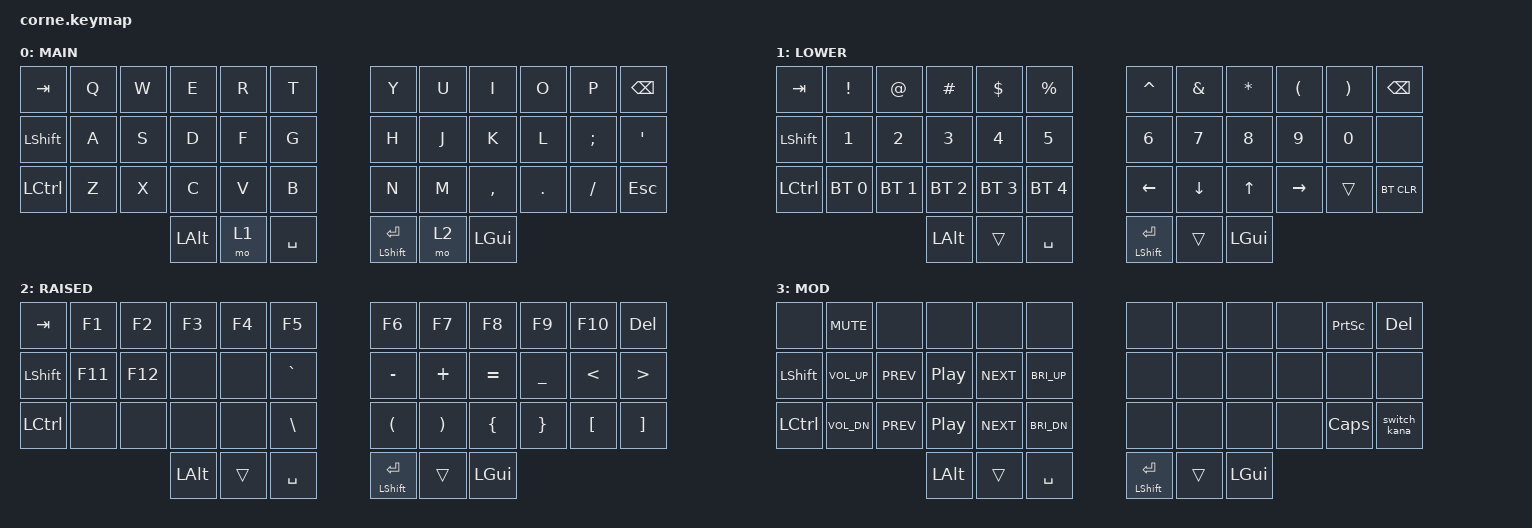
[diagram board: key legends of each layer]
/*
 * Copyright (c) 2020 The ZMK Contributors
 *
 * SPDX-License-Identifier: MIT
 */


#include <behaviors.dtsi>
#include <dt-bindings/zmk/keys.h>
#include <dt-bindings/zmk/bt.h>
#include <dt-bindings/zmk/rgb.h>

/ {
        macros {
                switch_kana: switch_kana {
                        compatible = "zmk,behavior-macro";
                        #binding-cells = <0>;
                        bindings
                                = <&macro_press &kp ALT>
                                , <&macro_tap &kp Z &kp M &kp K>
                                , <&macro_release &kp LSHFT>
                                ;
                        };
                    };
        conditional_layers {
                compatible = "zmk,conditional-layers";
                tri_layer {
                        if-layers = <1 2>;
                        then-layer = <3>;
                };
        };
        keymap {
                compatible = "zmk,keymap";

                default_layer {
                        display-name = "MAIN";
// -----------------------------------------------------------------------------------------
// |  TAB |  Q  |  W  |  E  |  R  |  T  |   |  Y  |  U   |  I  |  O  |  P  | BKSP |
// | CTRL |  A  |  S  |  D  |  F  |  G  |   |  H  |  J   |  K  |  L  |  ;  |  '   |
// | SHFT |  Z  |  X  |  C  |  V  |  B  |   |  N  |  M   |  ,  |  .  |  /  | SHFT |
//                    | GUI | LWR | SPC |   | ENT | RSE  | ALT |
                        bindings = <
   &kp TAB   &kp Q &kp W &kp E &kp R &kp T   &kp Y &kp U  &kp I     &kp O   &kp P    &kp BSPC
   &kp LSHFT &kp A &kp S &kp D &kp F &kp G   &kp H &kp J  &kp K     &kp L   &kp SEMI &kp SQT
   &kp LCTRL &kp Z &kp X &kp C &kp V &kp B   &kp N &kp M  &kp COMMA &kp DOT &kp FSLH &kp ESC
                  &kp LALT &mo 1 &kp SPACE   &mt LSHFT RET &mo 2 &kp LGUI
                        >;
                };
                lower_layer {
                        display-name = "LOWER";
// -----------------------------------------------------------------------------------------
// |  TAB | EXCL |  AT  | HASH | DLLR | PRCNT|   |CARET | AMPS | STAR | LPAR | RPAR | BKSP |
// | SHFT |  N1  |  N2  |  N3  |  N4  |  N5  |   |  N6  |  N7  |  N8  |  N9  |  N0  |      |
// | CTRL |  BT1 |  BT2 |  BT3 |  BT4 |  BT5 |   | LEFT | DOWN |  UP  |RIGHT |      |BT_CLR|
//                      | ALT  |      |  SPC |   |SHENT |      | GUI  |
                        bindings = <
        &kp TAB         &kp EXCL        &kp AT          &kp HASH        &kp DLLR        &kp PRCNT               &kp CARET       &kp AMPS        &kp STAR        &kp LPAR        &kp RPAR        &kp BSPC
        &kp LSHFT       &kp N1          &kp N2          &kp N3          &kp N4          &kp N5                  &kp N6          &kp N7          &kp N8          &kp N9          &kp N0          &none
        &kp LCTRL       &bt BT_SEL 0    &bt BT_SEL 1    &bt BT_SEL 2    &bt BT_SEL 3    &bt BT_SEL 4            &kp LEFT        &kp DOWN        &kp UP          &kp RIGHT       &trans          &bt BT_CLR
                                                        &kp LALT        &trans          &kp SPACE               &mt LSHFT RET   &trans          &kp LGUI
                        >;
                };

                raise_layer {
                        display-name = "RAISED";
// -----------------------------------------------------------------------------------------
// |  TAB |  F1  |  F2  |  F3  |  F4  |  F5  |   |   F6   |  F7   |   F8   |  F9  |  F10 | DEL  |
// | SHFT |  F11 | F12  |      |      | GRAVE|   |  MINUS |  PLUS |  EQUAL |UNDER |  LT  | GT   |
// | CTRL |      |      |      |      | BSLH |   |  LPAR  | RPAR  |  LBRC  | RBRC | LBKT | RBKT |
//                      |  ALT |      | SPC  |   |  SHENT |       |  GUI   |
                        bindings = <
        &kp TAB         &kp F1          &kp F2          &kp F3          &kp F4          &kp F5                  &kp F6          &kp F7          &kp F8          &kp F9          &kp F10          &kp DEL
        &kp LSHFT        &kp F11         &kp F12         &none          &none          &kp GRAVE               &kp MINUS    &kp PLUS     &kp EQUAL    &kp UNDER       &kp LT          &kp GT
        &kp LCTRL        &none          &none          &none          &none          &kp BSLH                &kp LPAR        &kp RPAR        &kp LBRC        &kp RBRC        &kp LBKT        &kp RBKT
                                                        &kp LALT        &trans          &kp SPC                 &mt LSHFT RET   &trans        &kp LGUI
                        >;
                };
                mod_layer {
                        bindings = <&switch_kana>;
                        display-name = "MOD";
// -----------------------------------------------------------------------------------------
// |       |C_MUTE  |      |            |      |        |   |        |       |        |      | PSCRN|  DEL |
// | LSHFT |C_VOL_UP|C_PREV|C_PLAY_PAUSE|C_NEXT|C_BRI_UP|   |        |       |        |      |      |      |
// | LCTRL |C_VOL_DN|C_PREV|C_PLAY_PAUSE|C_NEXT|C_BRI_DN|   |        |       |        |      | CAPS |      |
//                      |  ALT |      | SPC  |   |  SHENT |       |  GUI   |
                        bindings = <
        &none           &kp C_MUTE      &none           &none           &none           &none                   &none           &none           &none           &none           &kp PSCRN       &kp DEL
        &kp LSHFT       &kp C_VOL_UP    &kp C_PREV      &kp C_PLAY_PAUSE &kp C_NEXT     &kp C_BRI_UP            &none           &none           &none           &none           &none           &none
        &kp LCTRL       &kp C_VOL_DN    &kp C_PREV      &kp C_PLAY_PAUSE &kp C_NEXT     &kp C_BRI_DN            &none           &none           &none           &none           &kp CAPS        &switch_kana
                                                        &kp LALT        &trans          &kp SPC                 &mt LSHFT RET   &trans        &kp LGUI
                        >;
                };
        };
};
